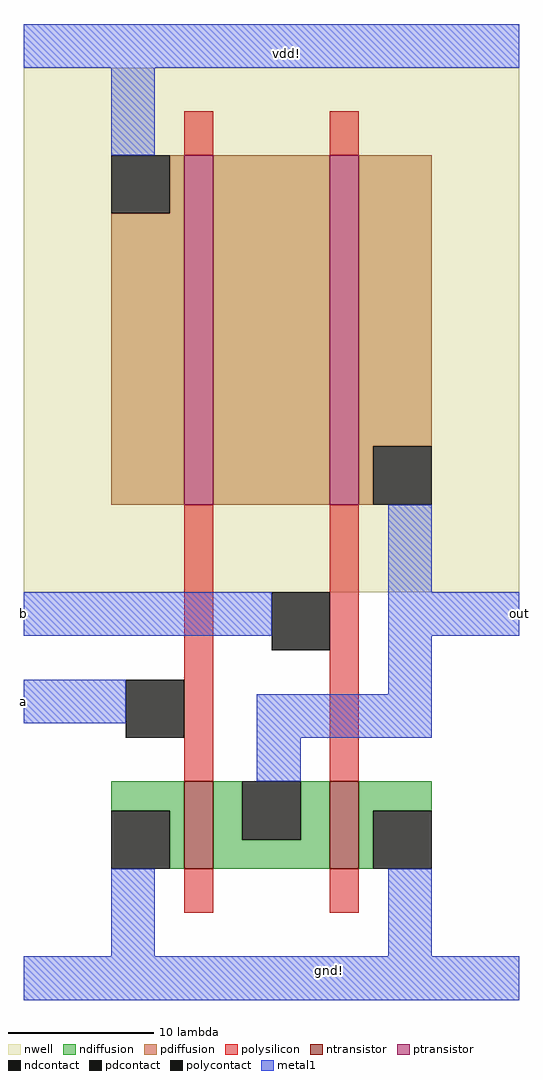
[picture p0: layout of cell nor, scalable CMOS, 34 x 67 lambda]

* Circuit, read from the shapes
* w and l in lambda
.subckt nor a b gnd! out vdd!
M1 out a gnd! VSUBS nfet w=6 l=2
M2 gnd! b out VSUBS nfet w=6 l=2
M3 n1 a vdd! n2 pfet w=24 l=2
M4 out b n1 n2 pfet w=24 l=2
.ends

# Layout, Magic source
magic
tech scmos
<< nwell >>
rect 0 0 34 36
<< ntransistor >>
rect 11 -19 13 -13
rect 21 -19 23 -13
<< ptransistor >>
rect 11 6 13 30
rect 21 6 23 30
<< ndiffusion >>
rect 6 -15 11 -13
rect 10 -19 11 -15
rect 13 -17 15 -13
rect 19 -17 21 -13
rect 13 -19 21 -17
rect 23 -15 28 -13
rect 23 -19 24 -15
<< pdiffusion >>
rect 10 26 11 30
rect 6 6 11 26
rect 13 6 21 30
rect 23 10 28 30
rect 23 6 24 10
<< ndcontact >>
rect 6 -19 10 -15
rect 15 -17 19 -13
rect 24 -19 28 -15
<< pdcontact >>
rect 6 26 10 30
rect 24 6 28 10
<< polysilicon >>
rect 11 30 13 33
rect 21 30 23 33
rect 11 -13 13 6
rect 21 -13 23 6
rect 11 -22 13 -19
rect 21 -22 23 -19
<< polycontact >>
rect 7 -10 11 -6
rect 17 -4 21 0
<< metal1 >>
rect 0 36 34 39
rect 6 30 9 36
rect 25 0 28 6
rect 0 -3 17 0
rect 25 -3 34 0
rect 0 -9 7 -6
rect 25 -7 28 -3
rect 16 -10 28 -7
rect 16 -13 19 -10
rect 6 -25 9 -19
rect 25 -25 28 -19
rect 0 -28 34 -25
<< labels >>
rlabel metal1 21 -26 21 -26 1 gnd!
rlabel metal1 18 37 18 37 5 vdd!
rlabel metal1 0 -3 0 0 3 b
rlabel metal1 0 -9 0 -6 3 a
rlabel metal1 34 -3 34 0 7 out
<< end >>
